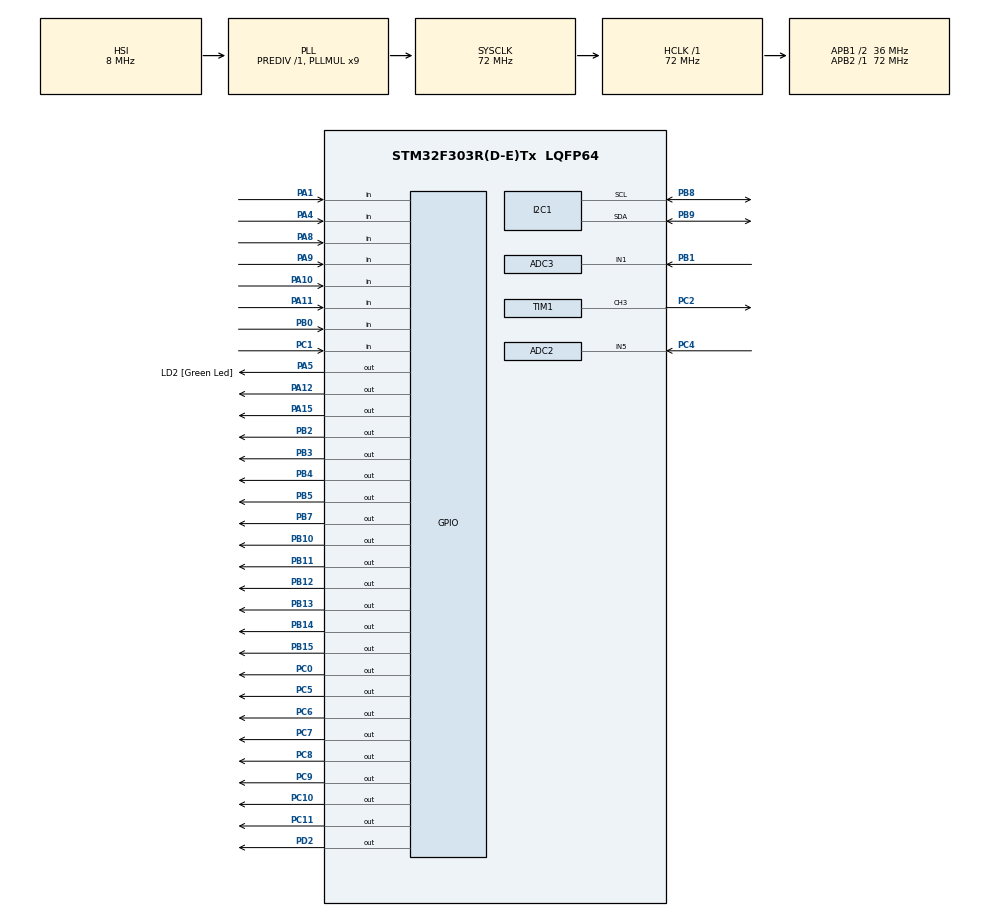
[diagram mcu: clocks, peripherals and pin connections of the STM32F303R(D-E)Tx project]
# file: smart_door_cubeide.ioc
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ADC2.Channel-0\#ChannelRegularConversion=ADC_CHANNEL_5
ADC2.NbrOfConversionFlag=1
ADC2.Offset-0\#ChannelRegularConversion=0
ADC2.OffsetNumber-0\#ChannelRegularConversion=ADC_OFFSET_NONE
ADC2.Rank-0\#ChannelRegularConversion=1
ADC2.SamplingTime-0\#ChannelRegularConversion=ADC_SAMPLETIME_1CYCLE_5
ADC2.SamplingTimeOPAMP-0\#ChannelRegularConversion=ADC_SAMPLETIME_61CYCLES_5
ADC3.Channel-0\#ChannelRegularConversion=ADC_CHANNEL_1
ADC3.NbrOfConversionFlag=1
ADC3.Offset-0\#ChannelRegularConversion=0
ADC3.OffsetNumber-0\#ChannelRegularConversion=ADC_OFFSET_NONE
ADC3.Rank-0\#ChannelRegularConversion=1
ADC3.SamplingTime-0\#ChannelRegularConversion=ADC_SAMPLETIME_1CYCLE_5
ADC3.SamplingTimeOPAMP-0\#ChannelRegularConversion=ADC_SAMPLETIME_61CYCLES_5
ADC3.master=1
I2C1.Timing=0x00201D2B
Mcu.Family=STM32F3
Mcu.Name=STM32F303R(D-E)Tx
Mcu.Package=LQFP64
NVIC.PriorityGroup=NVIC_PRIORITYGROUP_0
NVIC.TIM6_DAC_IRQn=true\:0\:0\:false\:false\:true\:true\:true\:true
PA1.GPIO_PuPd=GPIO_PULLUP
PA1.Signal=GPIO_Input
PA10.GPIO_PuPd=GPIO_PULLUP
PA10.Signal=GPIO_Input
PA11.GPIO_PuPd=GPIO_PULLUP
PA11.Signal=GPIO_Input
PA12.Signal=GPIO_Output
PA13.GPIO_Label=TMS
PA13.Mode=Serial_Wire
PA13.Signal=SYS_JTMS-SWDIO
PA14.GPIO_Label=TCK
PA14.Mode=Serial_Wire
PA14.Signal=SYS_JTCK-SWCLK
PA15.Signal=GPIO_Output
PA2.GPIO_Label=USART_TX
PA2.GPIO_Mode=GPIO_MODE_AF_PP
PA2.GPIO_PuPd=GPIO_NOPULL
PA2.GPIO_Speed=GPIO_SPEED_FREQ_LOW
PA2.Signal=USART2_TX
PA3.GPIO_Label=USART_RX
PA3.GPIO_Mode=GPIO_MODE_AF_PP
PA3.GPIO_PuPd=GPIO_NOPULL
PA3.GPIO_Speed=GPIO_SPEED_FREQ_LOW
PA3.Signal=USART2_RX
PA4.GPIO_PuPd=GPIO_PULLUP
PA4.Signal=GPIO_Input
PA5.GPIO_Label=LD2 [Green Led]
PA5.GPIO_Mode=GPIO_MODE_OUTPUT_PP
PA5.GPIO_PuPd=GPIO_NOPULL
PA5.GPIO_Speed=GPIO_SPEED_FREQ_LOW
PA5.Signal=GPIO_Output
PA8.GPIO_PuPd=GPIO_PULLUP
PA8.Signal=GPIO_Input
PA9.GPIO_PuPd=GPIO_PULLUP
PA9.Signal=GPIO_Input
PB0.GPIO_PuPd=GPIO_PULLUP
PB0.Signal=GPIO_Input
PB1.Mode=IN1-Single-Ended
PB1.Signal=ADC3_IN1
PB10.Signal=GPIO_Output
PB11.Signal=GPIO_Output
PB12.Signal=GPIO_Output
PB13.Signal=GPIO_Output
PB14.Signal=GPIO_Output
PB15.Signal=GPIO_Output
PB2.Signal=GPIO_Output
PB3.Signal=GPIO_Output
PB4.Signal=GPIO_Output
PB5.Signal=GPIO_Output
PB7.Signal=GPIO_Output
PB8.Mode=I2C
PB8.Signal=I2C1_SCL
PB9.Mode=I2C
PB9.Signal=I2C1_SDA
PC0.Signal=GPIO_Output
PC1.GPIO_PuPd=GPIO_PULLUP
PC1.Signal=GPIO_Input
PC10.Signal=GPIO_Output
PC11.Signal=GPIO_Output
PC14-OSC32_IN.Signal=RCC_OSC32_IN
PC15-OSC32_OUT.Signal=RCC_OSC32_OUT
PC2.Signal=S_TIM1_CH3
PC4.Mode=IN5-Single-Ended
PC4.Signal=ADC2_IN5
PC5.Signal=GPIO_Output
PC6.Signal=GPIO_Output
PC7.Signal=GPIO_Output
PC8.Signal=GPIO_Output
PC9.Signal=GPIO_Output
PD2.Signal=GPIO_Output
PF0-OSC_IN.Signal=RCC_OSC_IN
PF1-OSC_OUT.Signal=RCC_OSC_OUT
ProjectManager.HeapSize=0x200
ProjectManager.StackSize=0x400
ProjectManager.TargetToolchain=STM32CubeIDE
RCC.AHBFreq_Value=72000000
RCC.APB1CLKDivider=RCC_HCLK_DIV2
RCC.APB1Freq_Value=36000000
RCC.APB1TimFreq_Value=72000000
RCC.APB2Freq_Value=72000000
RCC.APB2TimFreq_Value=72000000
RCC.CortexFreq_Value=72000000
RCC.HCLKFreq_Value=72000000
RCC.HSE_VALUE=8000000
RCC.HSI_VALUE=8000000
RCC.LSE_VALUE=32768
RCC.PLLM=8
RCC.PLLMUL=RCC_PLL_MUL9
RCC.PLLN=336
RCC.PLLP=RCC_PLLP_DIV4
RCC.PLLQ=7
RCC.RCC_PLLsource_Clock_Source_FROM_HSE=RCC_HSE_PREDIV_DIV2
RCC.SYSCLKFreq_VALUE=72000000
RCC.SYSCLKSourceVirtual=RCC_SYSCLKSOURCE_PLLCLK
RCC.USBFreq_Value=72000000
SH.S_TIM1_CH3.0=TIM1_CH3,PWM Generation3 CH3
TIM1.Channel-PWM\ Generation3\ CH3=TIM_CHANNEL_3
TIM1.Period=999
TIM1.Prescaler=7
TIM1.Pulse-PWM\ Generation3\ CH3=500
VP_TIM1_VS_ClockSourceINT.Mode=Internal
VP_TIM6_VS_ClockSourceINT.Mode=Enable_Timer
board=NUCLEO-F303RE

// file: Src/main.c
/* USER CODE BEGIN Header */
/**
  ******************************************************************************
  * @file           : main.c
  * @brief          : Main program body
  ******************************************************************************
  * @attention
  *
  * Copyright (c) 2026 STMicroelectronics.
  * All rights reserved.
  *
  * This software is licensed under terms that can be found in the LICENSE file
  * in the root directory of this software component.
  * If no LICENSE file comes with this software, it is provided AS-IS.
  *
  ******************************************************************************
  */
/* USER CODE END Header */
#include "main.h"
#include "adc.h"
#include "i2c.h"
#include "tim.h"
#include "gpio.h"

/* USER CODE BEGIN Includes */
#include "hal_wrapper.h"
#include "idstore.h"
#include "auth.h"
#include "mgmt.h"

#include "feedback.h"
#include "lcd_feedback.h"
#include "ldr.h"
#include "motor.h"
#include "nfc.h"
#include "passage.h"
#include "system_state.h"
#include <stdio.h>
#include "clock.h"
/* USER CODE END Includes */

void SystemClock_Config(void);

int main(void)
{

  /* MCU Configuration--------------------------------------------------------*/

  /* Reset of all peripherals, Initializes the Flash interface and the Systick. */
  HAL_Init();

  /* Configure the system clock */
  SystemClock_Config();

  /* Initialize all configured peripherals */
  MX_GPIO_Init();
  MX_ADC2_Init();
  MX_ADC3_Init();
  MX_TIM1_Init();
  MX_TIM6_Init();
  MX_I2C1_Init();
  /* USER CODE BEGIN 2 */
  hal_lcd_init();

  HAL_Delay(150); // Gives time for the PN532 to finish powering up.

  //Clear Ids temporarily for demo purposes
  auth_init();
  mgmt_init();
  clock_init();
  passage_init();

  /* USER CODE END 2 */
  /* Infinite loop */
  while (1)
  {

    /* USER CODE BEGIN 3 */

	auth_task();
	nfc_task();
	ldr_task();
	motor_task();
	feedback_task();
	lcd_feedback_task();
	passage_task();
	mgmt_task();

  }
  /* USER CODE END 3 */
}

void SystemClock_Config(void)
{
  RCC_OscInitTypeDef RCC_OscInitStruct = {0};
  RCC_ClkInitTypeDef RCC_ClkInitStruct = {0};
  RCC_PeriphCLKInitTypeDef PeriphClkInit = {0};

  /** Initializes the RCC Oscillators according to the specified parameters
  * in the RCC_OscInitTypeDef structure.
  */
  RCC_OscInitStruct.OscillatorType = RCC_OSCILLATORTYPE_HSI;
  RCC_OscInitStruct.HSIState = RCC_HSI_ON;
  RCC_OscInitStruct.HSICalibrationValue = RCC_HSICALIBRATION_DEFAULT;
  RCC_OscInitStruct.PLL.PLLState = RCC_PLL_ON;
  RCC_OscInitStruct.PLL.PLLSource = RCC_PLLSOURCE_HSI;
  RCC_OscInitStruct.PLL.PLLMUL = RCC_PLL_MUL9;
  RCC_OscInitStruct.PLL.PREDIV = RCC_PREDIV_DIV1;
  if (HAL_RCC_OscConfig(&RCC_OscInitStruct) != HAL_OK)
  {
    Error_Handler();
  }

  /** Initializes the CPU, AHB and APB buses clocks
  */
  RCC_ClkInitStruct.ClockType = RCC_CLOCKTYPE_HCLK|RCC_CLOCKTYPE_SYSCLK
                              |RCC_CLOCKTYPE_PCLK1|RCC_CLOCKTYPE_PCLK2;
  RCC_ClkInitStruct.SYSCLKSource = RCC_SYSCLKSOURCE_PLLCLK;
  RCC_ClkInitStruct.AHBCLKDivider = RCC_SYSCLK_DIV1;
  RCC_ClkInitStruct.APB1CLKDivider = RCC_HCLK_DIV2;
  RCC_ClkInitStruct.APB2CLKDivider = RCC_HCLK_DIV1;

  if (HAL_RCC_ClockConfig(&RCC_ClkInitStruct, FLASH_LATENCY_2) != HAL_OK)
  {
    Error_Handler();
  }
  PeriphClkInit.PeriphClockSelection = RCC_PERIPHCLK_I2C1|RCC_PERIPHCLK_TIM1
                              |RCC_PERIPHCLK_ADC12|RCC_PERIPHCLK_ADC34;
  PeriphClkInit.Adc12ClockSelection = RCC_ADC12PLLCLK_DIV1;
  PeriphClkInit.Adc34ClockSelection = RCC_ADC34PLLCLK_DIV1;
  PeriphClkInit.I2c1ClockSelection = RCC_I2C1CLKSOURCE_HSI;
  PeriphClkInit.Tim1ClockSelection = RCC_TIM1CLK_HCLK;
  if (HAL_RCCEx_PeriphCLKConfig(&PeriphClkInit) != HAL_OK)
  {
    Error_Handler();
  }
}

void Error_Handler(void)
{
  __disable_irq();
  while (1)
  {
  }
}
